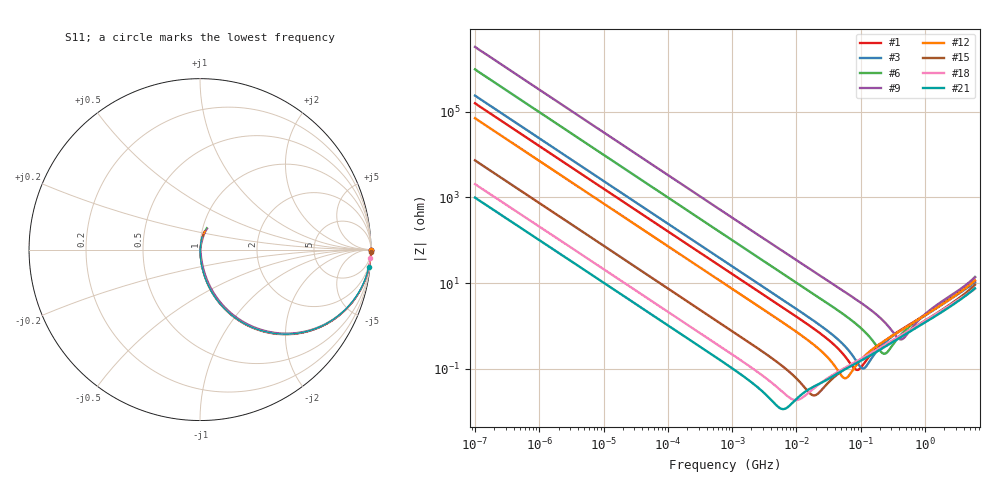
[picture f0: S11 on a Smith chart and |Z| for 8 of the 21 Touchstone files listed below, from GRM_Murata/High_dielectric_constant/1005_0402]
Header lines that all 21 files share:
!These Parameters are Measured in Series Mode Connection
!Data Generated on Mar 30, 2021
!  o--ll--o
!Port1  Port2
!  o------o
!Operation Temp=25[degC], DC Bias Voltage=0[V]
!Freq. Start=100[Hz] Stop=6[GHz] 401[Steps]
# Hz S RI R 50
!Freq.(Hz) S11(Real) S11(Imag) S21(Real) S21(Imag) S12(Real) S12(Imag) S22(Real) S22(Imag)
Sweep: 100 Hz to 6 GHz
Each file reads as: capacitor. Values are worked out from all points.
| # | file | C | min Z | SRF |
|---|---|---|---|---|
| 1 | GRM15XB11C103MA86.s2p | 10.1 nF | 94.3 mohm | 88.74 MHz |
| 2 | GRM15XB11C332KA86.s2p | 3.21 nF | 154 mohm | 162.1 MHz |
| 3 | GRM15XB11C682KA86.s2p | 6.65 nF | 102 mohm | 109.5 MHz |
| 4 | GRM15XB11E222MA86.s2p | 2.23 nF | 179 mohm | 191.4 MHz |
| 5 | GRM15XB11H102MA86.s2p | 967 pF | 306 mohm | 293.1 MHz |
| 6 | GRM15XB11H152KA86.s2p | 1.63 nF | 225 mohm | 233.8 MHz |
| 7 | GRM15XB11H221MA86.s2p | 222 pF | 737 mohm | 636.2 MHz |
| 8 | GRM15XB11H331KA86.s2p | 316 pF | 589 mohm | 539.8 MHz |
| 9 | GRM15XB11H471KA86.s2p | 486 pF | 485 mohm | 421.4 MHz |
| 10 | GRM15XR11H681KA86.s2p | 656 pF | 380 mohm | 367.9 MHz |
| 11 | GRM15XR61A153MA86.s2p | 15.3 nF | 82.2 mohm | 68.47 MHz |
| 12 | GRM15XR61A223MA86.s2p | 22.4 nF | 60.3 mohm | 58.03 MHz |
| 13 | GRM15XR61A333KA86.s2p | 32.5 nF | 48.4 mohm | 47.94 MHz |
| 14 | GRM15XR71C472KA86.s2p | 4.59 nF | 125 mohm | 130.5 MHz |
| 15 | GRM152B30J224KE19.s2p | 216 nF | 24 mohm | 19.3 MHz |
| 16 | GRM152B31A104KE19.s2p | 94.2 nF | 33.1 mohm | 30.24 MHz |
| 17 | GRM152R60J474ME15.s2p | 406 nF | 22.2 mohm | 13.3 MHz |
| 18 | GRM153B31A105ME95.s2p | 773 nF | 18.6 mohm | 10.08 MHz |
| 19 | GRM153R60G105ME19.s2p | 697 nF | 16 mohm | 10.08 MHz |
| 20 | GRM153R60G475ME15.s2p | 3.58 uF | 9.33 mohm | 4.011 MHz |
| 21 | GRM153R60J225ME95.s2p | 1.6 uF | 11.5 mohm | 6.473 MHz |
